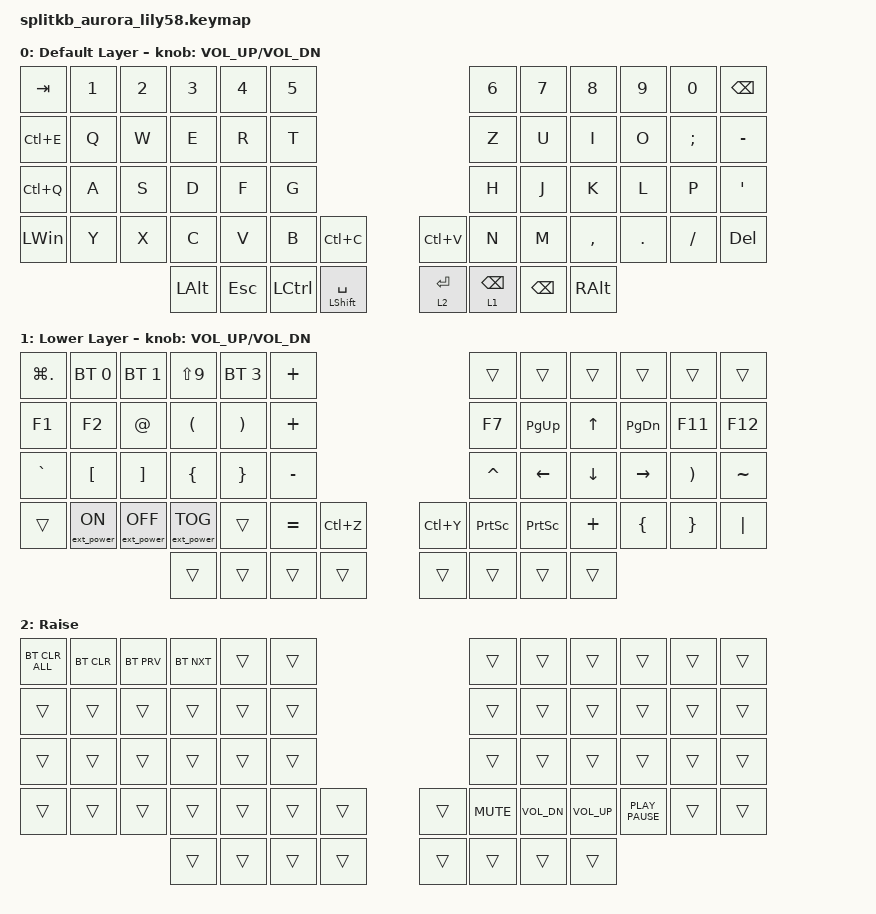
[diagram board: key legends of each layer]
/*
 * Copyright (c) 2022 The ZMK Contributors
 *
 * SPDX-License-Identifier: MIT
 */

#include <behaviors.dtsi>
#include <dt-bindings/zmk/bt.h>
#include <dt-bindings/zmk/ext_power.h>
#include <dt-bindings/zmk/keys.h>

/ {
    keymap {
        compatible = "zmk,keymap";

        default_layer {
            display-name = "Default Layer";

            // ------------------------------------------------------------------------------------------------------------
            // |  ESC  |  1  |  2  |  3   |  4   |  5   |                   |  6   |  7    |  8    |  9   |   0   |   `   |
            // |  TAB  |  Q  |  W  |  E   |  R   |  T   |                   |  Y   |  U    |  I    |  O   |   P   |   -   |
            // |  CTRL |  A  |  S  |  D   |  F   |  G   |                   |  H   |  J    |  K    |  L   |   ;   |   '   |
            // | SHIFT |  Z  |  X  |  C   |  V   |  B   |   "["  |  |  "]"  |  N   |  M    |  ,    |  .   |   /   | SHIFT |
            //                     | ALT  | GUI  | LOWER|  SPACE |  | ENTER | RAISE| BSPC  | GUI   |

            bindings = <
&kp TAB       &kp N1  &kp N2  &kp N3    &kp N4      &kp N5                                          &kp N6           &kp N7    &kp N8         &kp N9   &kp N0    &kp BACKSPACE
&kp LC(E)     &kp Q   &kp W   &kp E     &kp R       &kp T                                           &kp Z            &kp U     &kp I          &kp O    &kp SEMI  &kp MINUS
&kp LC(Q)     &kp A   &kp S   &kp D     &kp F       &kp G                                           &kp H            &kp J     &kp K          &kp L    &kp P     &kp SQT
&kp LEFT_WIN  &kp Y   &kp X   &kp C     &kp V       &kp B      &kp LC(C)               &kp LC(V)    &kp N            &kp M     &kp COMMA      &kp DOT  &kp FSLH  &kp DEL
                              &kp LALT  &kp ESCAPE  &kp LCTRL  &mt LEFT_SHIFT SPACE    &lt 2 ENTER  &lt 1 BACKSPACE  &kp BSPC  &kp RIGHT_ALT
            >;

            sensor-bindings = <&inc_dec_kp C_VOL_UP C_VOL_DN>;
        };

        lower_layer {
            display-name = "Lower Layer";

            // ------------------------------------------------------------------------------------------------------------
            // | BTCLR | BT1 | BT2 |  BT3 |  BT4 |  BT5 |                   |      |       |       |      |       |       |
            // |  F1   |  F2 |  F3 |  F4  |  F5  |  F6  |                   |  F7  |  F8   |  F9   |  F10 |  F11  |  F12  |
            // |   `   |  !  |  @  |  #   |  $   |  %   |                   |  ^   |  &    |  *    |  (   |   )   |   ~   |
            // |       |     |     |      |      |      |        |  |       |      |  _    |  +    |  {   |   }   |  "|"  |
            //                     |      |      |      |        |  |       |      |       |       |

            bindings = <
&kp LG(PERIOD)  &bt BT_SEL 0      &bt BT_SEL 1       &kp LS(N9)            &bt BT_SEL 3           &kp PLUS                           &trans           &trans           &trans        &trans         &trans    &trans
&kp F1          &kp F2            &kp AT             &kp LEFT_PARENTHESIS  &kp RIGHT_PARENTHESIS  &kp PLUS                           &kp F7           &kp PAGE_UP      &kp UP_ARROW  &kp PAGE_DOWN  &kp F11   &kp F12
&kp GRAVE       &kp LEFT_BRACKET  &kp RIGHT_BRACKET  &kp LEFT_BRACE        &kp RIGHT_BRACE        &kp MINUS                          &kp CARET        &kp LEFT         &kp DOWN      &kp RIGHT      &kp RPAR  &kp TILDE
&trans          &ext_power EP_ON  &ext_power EP_OFF  &ext_power EP_TOG     &trans                 &kp EQUAL  &kp LC(Z)    &kp LC(Y)  &kp PRINTSCREEN  &kp PRINTSCREEN  &kp PLUS      &kp LBRC       &kp RBRC  &kp PIPE
                                                     &trans                &trans                 &trans     &trans       &trans     &trans           &trans           &trans
            >;

            sensor-bindings = <&inc_dec_kp C_VOL_UP C_VOL_DN>;
        };

        Raise {
            bindings = <
&bt BT_CLR_ALL  &bt BT_CLR  &bt BT_PRV  &bt BT_NXT  &trans  &trans                    &trans      &trans        &trans           &trans            &trans  &trans
&trans          &trans      &trans      &trans      &trans  &trans                    &trans      &trans        &trans           &trans            &trans  &trans
&trans          &trans      &trans      &trans      &trans  &trans                    &trans      &trans        &trans           &trans            &trans  &trans
&trans          &trans      &trans      &trans      &trans  &trans  &trans    &trans  &kp K_MUTE  &kp C_VOL_DN  &kp C_VOLUME_UP  &kp K_PLAY_PAUSE  &trans  &trans
                                        &trans      &trans  &trans  &trans    &trans  &trans      &trans        &trans
            >;
        };
    };
};
